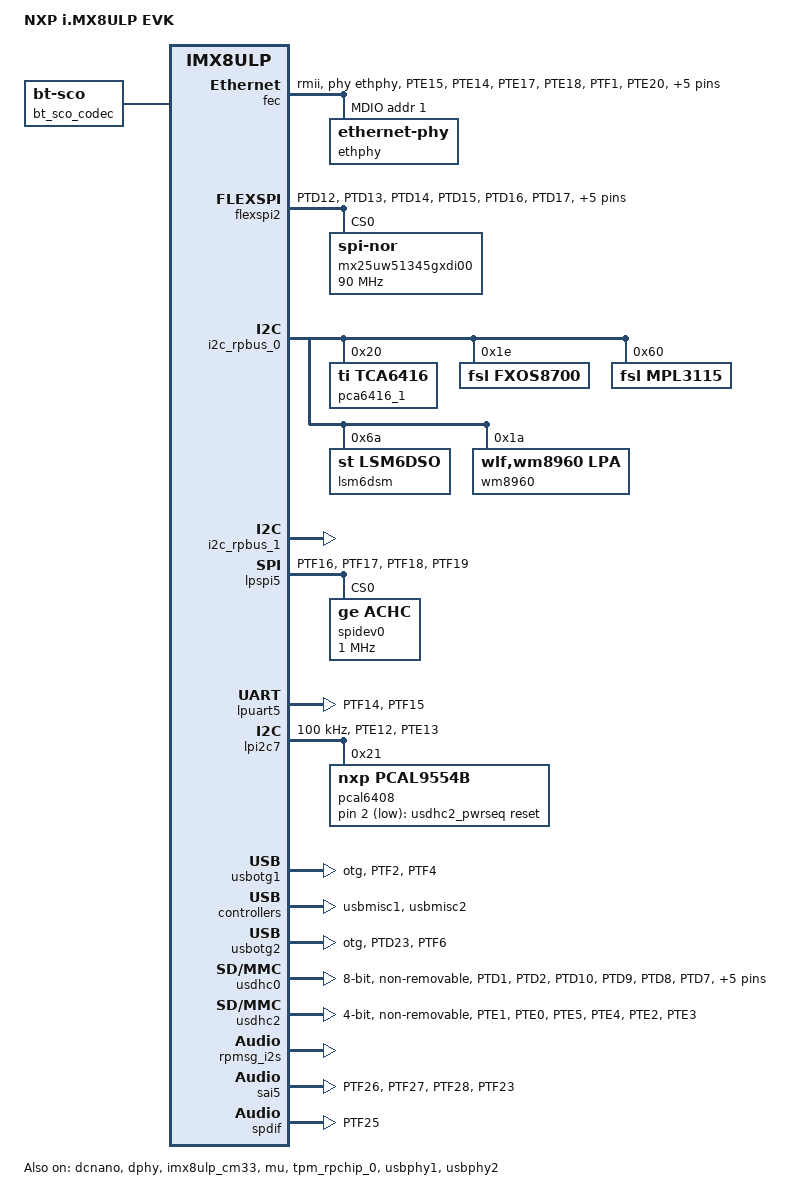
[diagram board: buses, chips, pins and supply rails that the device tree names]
// SPDX-License-Identifier: (GPL-2.0+ OR MIT)
/*
 * Copyright 2021 NXP
 */

/dts-v1/;

#include "imx8ulp.dtsi"
#include "imx8ulp-rpmsg.dtsi"

/ {
	model = "NXP i.MX8ULP EVK";
	compatible = "fsl,imx8ulp-evk", "fsl,imx8ulp";

	chosen {
		stdout-path = &lpuart5;
	};

	reserved-memory {
		#address-cells = <2>;
		#size-cells = <2>;
		ranges;

		linux,cma {
			compatible = "shared-dma-pool";
			reusable;
			size = <0 0x28000000>;
			linux,cma-default;
		};

		rsc_table: rsc_table@1fff8000{
			reg = <0 0x1fff8000 0 0x1000>;
			no-map;
		};

		vdev0vring0: vdev0vring0@aff00000 {
			reg = <0 0xaff00000 0 0x8000>;
			no-map;
		};

		vdev0vring1: vdev0vring1@aff08000 {
			reg = <0 0xaff08000 0 0x8000>;
			no-map;
		};

		vdev1vring0: vdev1vring0@aff10000 {
			reg = <0 0xaff10000 0 0x8000>;
			no-map;
		};

		vdev1vring1: vdev1vring1@aff18000 {
			reg = <0 0xaff18000 0 0x8000>;
			no-map;
		};

		vdevbuffer: vdevbuffer@a8400000 {
			compatible = "shared-dma-pool";
			reg = <0 0xa8400000 0 0x100000>;
			no-map;
		};

		audio_reserved: audio@0xa8500000 {
			compatible = "shared-dma-pool";
			no-map;
			reg = <0 0xa8500000 0 0x100000>;
		};
	};

	usdhc2_pwrseq: usdhc2_pwrseq {
		compatible = "mmc-pwrseq-simple";
		reset-gpios = <&pcal6408 2 GPIO_ACTIVE_LOW>;
	};

	bt_sco_codec: bt_sco_codec {
		#sound-dai-cells = <1>;
		compatible = "linux,bt-sco";
	};

	sound-bt-sco {
		compatible = "simple-audio-card";
		simple-audio-card,name = "bt-sco-audio";
		simple-audio-card,format = "dsp_a";
		simple-audio-card,bitclock-inversion;
		simple-audio-card,frame-master = <&btcpu>;
		simple-audio-card,bitclock-master = <&btcpu>;

		btcpu: simple-audio-card,cpu {
			sound-dai = <&sai5>;
			dai-tdm-slot-num = <2>;
			dai-tdm-slot-width = <16>;
		};

		simple-audio-card,codec {
			sound-dai = <&bt_sco_codec 1>;
		};
	};

	sound-spdif {
		compatible = "fsl,imx-audio-spdif";
		model = "imx-spdif";
		spdif-controller = <&spdif>;
		spdif-out;
	};

	sound-rpmsg {
		compatible = "fsl,imx-audio-rpmsg";
		model = "wm8960-audio";
		cpu-dai = <&rpmsg_i2s>;
		audio-codec = <&wm8960>;
		memory-region = <&audio_reserved>;
		rpmsg-out;
		rpmsg-in;
		audio-routing =
			"LINPUT1", "MICB",
			"LINPUT3", "MICB";
	};

};

&dcnano {
	status = "okay";
};

&dphy {
	status = "okay";
};

&fec {
	pinctrl-names = "default";
	pinctrl-0 = <&pinctrl_enet>;
	phy-mode = "rmii";
	phy-handle = <&ethphy>;
	status = "okay";

	mdio {
		#address-cells = <1>;
		#size-cells = <0>;

		ethphy: ethernet-phy {
			reg = <1>;
			micrel,led-mode = <1>;
		};
	};
};

&flexspi2 {
	pinctrl-names = "default";
	pinctrl-0 = <&pinctrl_flexspi2_ptd>;
	status = "okay";

	mx25uw51345gxdi00: flash@0 {
		reg = <0>;
		#address-cells = <1>;
		#size-cells = <1>;
		compatible = "jedec,spi-nor";
		spi-max-frequency = <90000000>;
		spi-tx-bus-width = <1>;
		spi-rx-bus-width = <1>;
	};
};

&i2c_rpbus_0 {
	#address-cells = <1>;
	#size-cells = <0>;
	status = "okay";

	pca6416_1: gpio@20 {
		compatible = "ti,tca6416";
		reg = <0x20>;
		gpio-controller;
		#gpio-cells = <2>;
	};

	fxos8700@1e {
		compatible = "fsl,fxos8700";
		reg = <0x1e>;
	};

	mpl3115@60 {
		compatible = "fsl,mpl3115";
		reg = <0x60>;
	};

	lsm6dsm@6a {
		compatible = "st,lsm6dso";
		reg = <0x6a>;
	};

	wm8960: wm8960@1a {
		compatible = "wlf,wm8960,lpa";
		reg = <0x1a>;
		wlf,shared-lrclk;
	};
};

&i2c_rpbus_1 {
	#address-cells = <1>;
	#size-cells = <0>;
	status = "okay";
};

&imx8ulp_cm33 {
	ipc-only;
	rsc-da=<0x1fff8000>;
	mbox-names = "tx", "rx", "rxdb";
	mboxes = <&mu 0 1
			&mu 1 1
			&mu 3 1>;
	memory-region = <&vdevbuffer>, <&vdev0vring0>, <&vdev0vring1>,
			<&vdev1vring0>, <&vdev1vring1>, <&rsc_table>;
	status = "okay";
};

&lpspi5 {
	fsl,spi-num-chipselects = <1>;
	pinctrl-names = "default", "sleep";
	pinctrl-0 = <&pinctrl_lpspi5>;
	pinctrl-1 = <&pinctrl_lpspi5>;
	status = "okay";

	spidev0: spi@0 {
		reg = <0>;
		compatible = "ge,achc";
		spi-max-frequency = <1000000>;
	};
};

&lpuart5 {
	/* console */
	pinctrl-names = "default", "sleep";
	pinctrl-0 = <&pinctrl_lpuart5>;
	pinctrl-1 = <&pinctrl_lpuart5>;
	status = "okay";
};

&lpi2c7 {
	#address-cells = <1>;
	#size-cells = <0>;
	clock-frequency = <100000>;
	pinctrl-names = "default", "sleep";
	pinctrl-0 = <&pinctrl_lpi2c7>;
	pinctrl-1 = <&pinctrl_lpi2c7>;
	status = "okay";

	pcal6408: gpio@21 {
		compatible = "nxp,pcal9554b";
		reg = <0x21>;
		gpio-controller;
		#gpio-cells = <2>;
	};
};

&mu {
	status = "okay";
};

&tpm_rpchip_0 {
	status = "okay";
};

&usbotg1 {
	pinctrl-names = "default", "sleep";
	pinctrl-0 = <&pinctrl_otgid1>;
	pinctrl-1 = <&pinctrl_otgid1>;
	dr_mode = "otg";
	hnp-disable;
	srp-disable;
	adp-disable;
	over-current-active-low;
	status = "okay";
};

&usbphy1 {
	status = "okay";
};

&usbmisc1 {
	status = "okay";
};

&usbotg2 {
	pinctrl-names = "default", "sleep";
	pinctrl-0 = <&pinctrl_otgid2>;
	pinctrl-1 = <&pinctrl_otgid2>;
	dr_mode = "otg";
	hnp-disable;
	srp-disable;
	adp-disable;
	over-current-active-low;
	status = "okay";
};

&usbphy2 {
	status = "okay";
};

&usbmisc2 {
	status = "okay";
};

&usdhc0 {
	pinctrl-names = "default", "state_100mhz", "state_200mhz", "sleep";
	pinctrl-0 = <&pinctrl_usdhc0>;
	pinctrl-1 = <&pinctrl_usdhc0>;
	pinctrl-2 = <&pinctrl_usdhc0>;
	pinctrl-3 = <&pinctrl_usdhc0>;
	non-removable;
	bus-width = <8>;
	status = "okay";
};

&usdhc2 {
	pinctrl-names = "default", "state_100mhz", "state_200mhz", "sleep";
	pinctrl-0 = <&pinctrl_usdhc2_pte>;
	pinctrl-1 = <&pinctrl_usdhc2_pte>;
	pinctrl-2 = <&pinctrl_usdhc2_pte>;
	pinctrl-3 = <&pinctrl_usdhc2_pte>;
	mmc-pwrseq = <&usdhc2_pwrseq>;
	max-frequency = <100000000>;
	bus-width = <4>;
	keep-power-in-suspend;
	non-removable;
	status = "okay";
};

&iomuxc1 {
	pinctrl_enet: enetgrp {
		fsl,pins = <
			MX8ULP_PAD_PTE15__ENET0_MDC     0x43
			MX8ULP_PAD_PTE14__ENET0_MDIO    0x43
			MX8ULP_PAD_PTE17__ENET0_RXER    0x43
			MX8ULP_PAD_PTE18__ENET0_CRS_DV  0x43
			MX8ULP_PAD_PTF1__ENET0_RXD0     0x43
			MX8ULP_PAD_PTE20__ENET0_RXD1    0x43
			MX8ULP_PAD_PTE16__ENET0_TXEN    0x43
			MX8ULP_PAD_PTE23__ENET0_TXD0    0x43
			MX8ULP_PAD_PTE22__ENET0_TXD1    0x43
			MX8ULP_PAD_PTE19__ENET0_REFCLK  0x43
			MX8ULP_PAD_PTF10__ENET0_1588_CLKIN 0x43
		>;
	};

	pinctrl_flexspi2_ptd: flexspi2ptdgrp {
		fsl,pins = <

			MX8ULP_PAD_PTD12__FLEXSPI2_A_SS0_B	0x42
			MX8ULP_PAD_PTD13__FLEXSPI2_A_SCLK	0x42
			MX8ULP_PAD_PTD14__FLEXSPI2_A_DATA3	0x42
			MX8ULP_PAD_PTD15__FLEXSPI2_A_DATA2	0x42
			MX8ULP_PAD_PTD16__FLEXSPI2_A_DATA1	0x42
			MX8ULP_PAD_PTD17__FLEXSPI2_A_DATA0	0x42
			MX8ULP_PAD_PTD18__FLEXSPI2_A_DQS	0x42
			MX8ULP_PAD_PTD19__FLEXSPI2_A_DATA7	0x42
			MX8ULP_PAD_PTD20__FLEXSPI2_A_DATA6	0x42
			MX8ULP_PAD_PTD21__FLEXSPI2_A_DATA5	0x42
			MX8ULP_PAD_PTD22__FLEXSPI2_A_DATA4	0x42
		>;
	};

	pinctrl_lpspi5: lpspi5grp {
		fsl,pins = <
			MX8ULP_PAD_PTF16__LPSPI5_SIN	0x3
			MX8ULP_PAD_PTF17__LPSPI5_SOUT	0x3
			MX8ULP_PAD_PTF18__LPSPI5_SCK	0x3
			MX8ULP_PAD_PTF19__LPSPI5_PCS0	0x3
		>;
	};

	pinctrl_lpuart5: lpuart5grp {
		fsl,pins = <
			MX8ULP_PAD_PTF14__LPUART5_TX	0x3
			MX8ULP_PAD_PTF15__LPUART5_RX	0x3
		>;
	};

	pinctrl_lpi2c7: lpi2c7grp {
		fsl,pins = <
			MX8ULP_PAD_PTE12__LPI2C7_SCL	0x20
			MX8ULP_PAD_PTE13__LPI2C7_SDA	0x20
		>;
	};

	pinctrl_otgid1: usb1grp {
		fsl,pins = <
			MX8ULP_PAD_PTF2__USB0_ID	0x10003
			MX8ULP_PAD_PTF4__USB0_OC	0x10003
		>;
	};

	pinctrl_otgid2: usb2grp {
		fsl,pins = <
			MX8ULP_PAD_PTD23__USB1_ID	0x10003
			MX8ULP_PAD_PTF6__USB1_OC	0x10003
		>;
	};

	pinctrl_sai5: sai5grp {
		fsl,pins = <
			MX8ULP_PAD_PTF26__I2S5_TX_BCLK  0x43
			MX8ULP_PAD_PTF27__I2S5_TX_FS    0x43
			MX8ULP_PAD_PTF28__I2S5_TXD0     0x43
			MX8ULP_PAD_PTF23__I2S5_RXD2     0x43
		>;
	};

	pinctrl_spdif: spdifgrp {
		fsl,pins = <
			MX8ULP_PAD_PTF25__SPDIF_OUT1    0x43
		>;
	};

	pinctrl_usdhc0: usdhc0grp {
		fsl,pins = <
			MX8ULP_PAD_PTD1__SDHC0_CMD	0x43
			MX8ULP_PAD_PTD2__SDHC0_CLK	0x10042
			MX8ULP_PAD_PTD10__SDHC0_D0	0x43
			MX8ULP_PAD_PTD9__SDHC0_D1	0x43
			MX8ULP_PAD_PTD8__SDHC0_D2	0x43
			MX8ULP_PAD_PTD7__SDHC0_D3	0x43
			MX8ULP_PAD_PTD6__SDHC0_D4	0x43
			MX8ULP_PAD_PTD5__SDHC0_D5	0x43
			MX8ULP_PAD_PTD4__SDHC0_D6	0x43
			MX8ULP_PAD_PTD3__SDHC0_D7	0x43
			MX8ULP_PAD_PTD11__SDHC0_DQS	0x10042
		>;
	};

	pinctrl_usdhc2_pte: usdhc2ptegrp {
		fsl,pins = <
			MX8ULP_PAD_PTE1__SDHC2_D0	0x43
			MX8ULP_PAD_PTE0__SDHC2_D1	0x43
			MX8ULP_PAD_PTE5__SDHC2_D2	0x43
			MX8ULP_PAD_PTE4__SDHC2_D3	0x43
			MX8ULP_PAD_PTE2__SDHC2_CLK	0x10042
			MX8ULP_PAD_PTE3__SDHC2_CMD	0x43
		>;
	};

};

&rpmsg_i2s {
	status = "okay";
};

&sai5 {
	#sound-dai-cells = <0>;
	pinctrl-names = "default";
	pinctrl-0 = <&pinctrl_sai5>;
	assigned-clocks = <&cgc1 IMX8ULP_CLK_SAI5_SEL>;
	assigned-clock-parents = <&cgc1 IMX8ULP_CLK_SPLL3_PFD1_DIV1>;
	fsl,dataline = <0 0x04 0x01>;
	status = "okay";
};

&spdif {
	pinctrl-names = "default";
	pinctrl-0 = <&pinctrl_spdif>;
	assigned-clocks = <&cgc2 IMX8ULP_CLK_SPDIF_SEL>;
	assigned-clock-parents = <&cgc1 IMX8ULP_CLK_SPLL3_PFD1_DIV1>;
	status = "okay";
};
